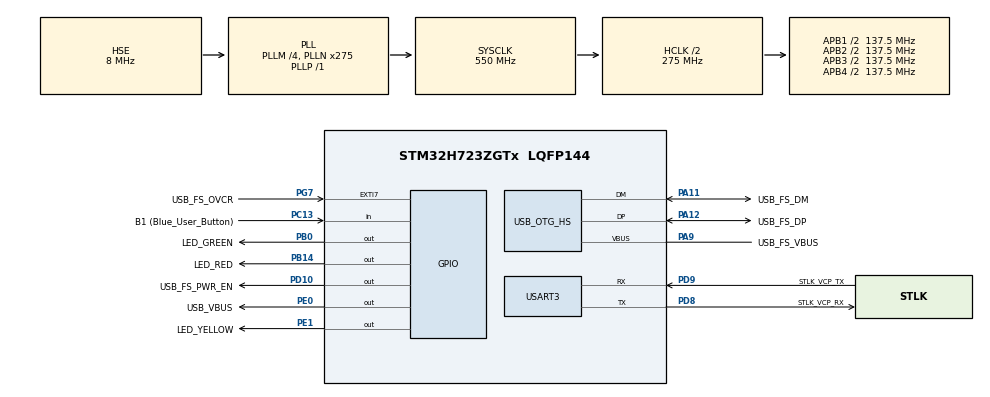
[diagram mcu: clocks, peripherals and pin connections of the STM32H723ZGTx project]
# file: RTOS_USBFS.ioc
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Dma.Request0=USART3_TX
Dma.Request1=USART3_RX
Dma.USART3_RX.1.Direction=DMA_PERIPH_TO_MEMORY
Dma.USART3_RX.1.EventEnable=DISABLE
Dma.USART3_RX.1.FIFOMode=DMA_FIFOMODE_DISABLE
Dma.USART3_RX.1.Instance=DMA1_Stream1
Dma.USART3_RX.1.MemDataAlignment=DMA_MDATAALIGN_BYTE
Dma.USART3_RX.1.MemInc=DMA_MINC_ENABLE
Dma.USART3_RX.1.Mode=DMA_CIRCULAR
Dma.USART3_RX.1.PeriphDataAlignment=DMA_PDATAALIGN_BYTE
Dma.USART3_RX.1.PeriphInc=DMA_PINC_DISABLE
Dma.USART3_RX.1.Polarity=HAL_DMAMUX_REQ_GEN_RISING
Dma.USART3_RX.1.Priority=DMA_PRIORITY_LOW
Dma.USART3_RX.1.RequestNumber=1
Dma.USART3_RX.1.SignalID=NONE
Dma.USART3_RX.1.SyncEnable=DISABLE
Dma.USART3_RX.1.SyncPolarity=HAL_DMAMUX_SYNC_NO_EVENT
Dma.USART3_RX.1.SyncRequestNumber=1
Dma.USART3_RX.1.SyncSignalID=NONE
Dma.USART3_TX.0.Direction=DMA_MEMORY_TO_PERIPH
Dma.USART3_TX.0.EventEnable=DISABLE
Dma.USART3_TX.0.FIFOMode=DMA_FIFOMODE_DISABLE
Dma.USART3_TX.0.Instance=DMA1_Stream0
Dma.USART3_TX.0.MemDataAlignment=DMA_MDATAALIGN_BYTE
Dma.USART3_TX.0.MemInc=DMA_MINC_ENABLE
Dma.USART3_TX.0.Mode=DMA_NORMAL
Dma.USART3_TX.0.PeriphDataAlignment=DMA_PDATAALIGN_BYTE
Dma.USART3_TX.0.PeriphInc=DMA_PINC_DISABLE
Dma.USART3_TX.0.Polarity=HAL_DMAMUX_REQ_GEN_RISING
Dma.USART3_TX.0.Priority=DMA_PRIORITY_LOW
Dma.USART3_TX.0.RequestNumber=1
Dma.USART3_TX.0.SignalID=NONE
Dma.USART3_TX.0.SyncEnable=DISABLE
Dma.USART3_TX.0.SyncPolarity=HAL_DMAMUX_SYNC_NO_EVENT
Dma.USART3_TX.0.SyncRequestNumber=1
Dma.USART3_TX.0.SyncSignalID=NONE
FATFS._FS_EXFAT=1
FATFS._FS_REENTRANT=1
FATFS._FS_RPATH=2
FATFS._MAX_SS=4096
FATFS._USE_LFN=3
FATFS._USE_MUTEX=1
FREERTOS.BinarySemaphores01=UART_TX_Semaphore,Dynamic,NULL
FREERTOS.INCLUDE_vTaskCleanUpResources=1
FREERTOS.INCLUDE_vTaskDelayUntil=1
FREERTOS.INCLUDE_xTimerPendFunctionCall=1
FREERTOS.Tasks01=defaultTask,0,128,StartDefaultTask,Default,NULL,Dynamic,NULL,NULL;USBFileSystemTa,0,128,USBFileSystemTask_Start,Default,NULL,Dynamic,NULL,NULL;ConsoleTask,0,128,ConsoleTask_Start,Default,NULL,Dynamic,NULL,NULL
FREERTOS.Timers01=Timer1,Timer1_Callback,osTimerPeriodic,Default,NULL,Dynamic,NULL
FREERTOS.configUSE_NEWLIB_REENTRANT=0
FREERTOS.configUSE_TIMERS=1
Mcu.Family=STM32H7
Mcu.Name=STM32H723ZGTx
Mcu.Package=LQFP144
NVIC.DMA1_Stream0_IRQn=true\:5\:0\:false\:false\:true\:false\:false\:true\:true
NVIC.DMA1_Stream1_IRQn=true\:5\:0\:false\:false\:true\:false\:false\:true\:true
NVIC.OTG_HS_IRQn=true\:5\:0\:false\:false\:true\:false\:false\:true\:true
NVIC.PriorityGroup=NVIC_PRIORITYGROUP_4
NVIC.TIM1_UP_IRQn=true\:15\:0\:false\:false\:true\:false\:false\:true\:true
NVIC.TimeBase=TIM1_UP_IRQn
NVIC.TimeBaseIP=TIM1
NVIC.USART3_IRQn=true\:5\:0\:false\:false\:true\:false\:true\:true\:true
PA1.GPIO_Label=RMII_REF_CLK
PA1.Signal=ETH_REF_CLK
PA10.GPIO_Label=USB_FS_ID
PA10.Signal=USB_OTG_HS_ID
PA11.GPIO_Label=USB_FS_DM
PA11.Mode=Host_FS
PA11.Signal=USB_OTG_HS_DM
PA12.GPIO_Label=USB_FS_DP
PA12.Mode=Host_FS
PA12.Signal=USB_OTG_HS_DP
PA13(JTMS/SWDIO).GPIO_Label=SWDIO
PA13(JTMS/SWDIO).Mode=Trace_Asynchronous_SW
PA13(JTMS/SWDIO).Signal=DEBUG_JTMS-SWDIO
PA14(JTCK/SWCLK).GPIO_Label=SWCLK
PA14(JTCK/SWCLK).Mode=Trace_Asynchronous_SW
PA14(JTCK/SWCLK).Signal=DEBUG_JTCK-SWCLK
PA2.GPIO_Label=RMII_MDIO
PA2.Signal=ETH_MDIO
PA7.GPIO_Label=RMII_CRS_DV
PA7.Signal=ETH_CRS_DV
PA9.GPIO_Label=USB_FS_VBUS
PA9.Mode=Activate_VBUS_FS
PA9.Signal=USB_OTG_HS_VBUS
PB0.GPIO_Label=LED_GREEN
PB0.Signal=GPIO_Output
PB13.GPIO_Label=RMII_TXD1
PB13.Signal=ETH_TXD1
PB14.GPIO_Label=LED_RED
PB14.Signal=GPIO_Output
PB3(JTDO/TRACESWO).GPIO_Label=SWO
PB3(JTDO/TRACESWO).Mode=Trace_Asynchronous_SW
PB3(JTDO/TRACESWO).Signal=DEBUG_JTDO-SWO
PC1.GPIO_Label=RMII_MDC
PC1.Signal=ETH_MDC
PC13.GPIO_Label=B1 (Blue_User_Button)
PC13.Signal=GPIO_Input
PC14-OSC32_IN.Mode=LSE-External-Oscillator
PC14-OSC32_IN.Signal=RCC_OSC32_IN
PC15-OSC32_OUT.Mode=LSE-External-Oscillator
PC15-OSC32_OUT.Signal=RCC_OSC32_OUT
PC4.GPIO_Label=RMII_RXD0
PC4.Signal=ETH_RXD0
PC5.GPIO_Label=RMII_RXD1
PC5.Signal=ETH_RXD1
PD10.GPIO_Label=USB_FS_PWR_EN
PD10.Signal=GPIO_Output
PD8.GPIO_Label=STLK_VCP_RX
PD8.Mode=Asynchronous
PD8.Signal=USART3_TX
PD9.GPIO_Label=STLK_VCP_TX
PD9.Mode=Asynchronous
PD9.Signal=USART3_RX
PE0.GPIO_Label=USB_VBUS
PE0.GPIO_ModeDefaultOutputPP=GPIO_MODE_OUTPUT_PP
PE0.PinState=GPIO_PIN_SET
PE0.Signal=GPIO_Output
PE1.GPIO_Label=LED_YELLOW
PE1.PinState=GPIO_PIN_SET
PE1.Signal=GPIO_Output
PG11.GPIO_Label=RMII_TX_EN
PG11.Signal=ETH_TX_EN
PG13.GPIO_Label=RMII_TXD0
PG13.Signal=ETH_TXD0
PG7.GPIO_Label=USB_FS_OVCR
PG7.Signal=GPXTI7
PH0-OSC_IN.GPIO_Label=MCO
PH0-OSC_IN.Mode=HSE-External-Oscillator
PH0-OSC_IN.Signal=RCC_OSC_IN
PH1-OSC_OUT.Mode=HSE-External-Oscillator
PH1-OSC_OUT.Signal=RCC_OSC_OUT
ProjectManager.HeapSize=0x200
ProjectManager.StackSize=0x400
ProjectManager.TargetToolchain=STM32CubeIDE
RCC.ADCFreq_Value=76000000
RCC.APB1Freq_Value=137500000
RCC.APB2Freq_Value=137500000
RCC.APB3Freq_Value=137500000
RCC.APB4Freq_Value=137500000
RCC.CortexFreq_Value=550000000
RCC.D1PPRE=RCC_APB3_DIV2
RCC.D2PPRE1=RCC_APB1_DIV2
RCC.D2PPRE2=RCC_APB2_DIV2
RCC.D3PPRE=RCC_APB4_DIV2
RCC.DIVM1=4
RCC.DIVM2=1
RCC.DIVN1=275
RCC.DIVN2=19
RCC.DIVP1=1
RCC.DIVQ1=4
RCC.HCLKFreq_Value=275000000
RCC.HPRE=RCC_HCLK_DIV2
RCC.HSE_VALUE=8000000
RCC.PLLFRACN=0
RCC.PLLSourceVirtual=RCC_PLLSOURCE_HSE
RCC.SYSCLKFreq_VALUE=550000000
RCC.SYSCLKSource=RCC_SYSCLKSOURCE_PLLCLK
RCC.USBCLockSelection=RCC_USBCLKSOURCE_HSI48
RCC.USBFreq_Value=48000000
USART3.VirtualMode-Asynchronous=VM_ASYNC
USB_HOST.BSP.number=1
USB_HOST.USBH_HandleTypeDef=hUsbHostHS
USB_HOST.VirtualModeHS=Msc
USB_HOST0.BSP.STBoard=false
USB_HOST0.BSP.api=Unknown
USB_HOST0.BSP.instance=PE0
USB_HOST0.BSP.ip=GPIO
USB_HOST0.BSP.mode=Output
USB_HOST0.BSP.name=Drive_VBUS_HS
USB_HOST0.BSP.solution=PE0
USB_OTG_HS.VirtualMode-Host_FS=Host_FS
VP_FATFS_VS_USB.Mode=USB
VP_FREERTOS_VS_CMSIS_V1.Mode=CMSIS_V1
VP_SYS_VS_tim1.Mode=TIM1
VP_USB_HOST_VS_USB_HOST_MSC_HS.Mode=MSC_HS
board=NUCLEO-H723ZG

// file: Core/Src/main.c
/* USER CODE BEGIN Header */
/**
  ******************************************************************************
  * @file           : main.c
  * @brief          : Main program body
  ******************************************************************************
  * @attention
  *
  * Copyright (c) 2022 STMicroelectronics.
  * All rights reserved.
  *
  * This software is licensed under terms that can be found in the LICENSE file
  * in the root directory of this software component.
  * If no LICENSE file comes with this software, it is provided AS-IS.
  *
  ******************************************************************************
  */
/* USER CODE END Header */
#include "main.h"
#include "cmsis_os.h"
#include "fatfs.h"
#include "usb_host.h"

/* USER CODE BEGIN Includes */
#include "file_operations.h"
/* USER CODE END Includes */

/* USER CODE BEGIN PD */
#define UART_TX_BUFFER_LENGTH 66
#define UART_RX_BUFFER_LENGTH 66

char buff[256];

extern ApplicationTypeDef Appli_state;

//const uint32_t __attribute__((__section__(".crc_checksum"))) CRC_val = 0x888A5BDE;

/* USER CODE END PD */

UART_HandleTypeDef huart3;
DMA_HandleTypeDef hdma_usart3_tx;
DMA_HandleTypeDef hdma_usart3_rx;

osThreadId defaultTaskHandle;
osThreadId USBFileSystemTaHandle;
osThreadId ConsoleTaskHandle;
osTimerId Timer1Handle;
osSemaphoreId UART_TX_SemaphoreHandle;

void SystemClock_Config(void);
static void MX_GPIO_Init(void);
static void MX_USART3_UART_Init(void);
static void MX_DMA_Init(void);
void StartDefaultTask(void const * argument);
void USBFileSystemTask_Start(void const * argument);
void ConsoleTask_Start(void const * argument);
void Timer1_Callback(void const * argument);

/* USER CODE BEGIN 0 */

uint8_t UART_TX_BUFFER[UART_TX_BUFFER_LENGTH];
uint8_t UART_RX_BUFFER[UART_RX_BUFFER_LENGTH];

int _write(int file, uint8_t *data, int len)
{

   /* Lock Semaphore to ensure print buffer is used just by one thread. */
   osSemaphoreWait(UART_TX_SemaphoreHandle, osWaitForever);

   memcpy(UART_TX_BUFFER, data, len);

   HAL_StatusTypeDef status =
      HAL_UART_Transmit_DMA(&huart3, (uint8_t*)UART_TX_BUFFER, len);

   // return # of bytes written - as best we can tell
   return (status == HAL_OK ? len : 0);
}

/* USER CODE END 0 */

int main(void)
{

  /* MCU Configuration--------------------------------------------------------*/

  /* Reset of all peripherals, Initializes the Flash interface and the Systick. */
  HAL_Init();

  /* Configure the system clock */
  SystemClock_Config();

  /* Initialize all configured peripherals */
  MX_GPIO_Init();
  MX_FATFS_Init();
  MX_DMA_Init();
  MX_USART3_UART_Init();

  /* Create the semaphores(s) */
  /* definition and creation of UART_TX_Semaphore */
  osSemaphoreDef(UART_TX_Semaphore);
  UART_TX_SemaphoreHandle = osSemaphoreCreate(osSemaphore(UART_TX_Semaphore), 1);

  /* Create the timer(s) */
  /* definition and creation of Timer1 */
  osTimerDef(Timer1, Timer1_Callback);
  Timer1Handle = osTimerCreate(osTimer(Timer1), osTimerPeriodic, NULL);

  /* Create the thread(s) */
  /* definition and creation of defaultTask */
  osThreadDef(defaultTask, StartDefaultTask, osPriorityNormal, 0, 128);
  defaultTaskHandle = osThreadCreate(osThread(defaultTask), NULL);

  /* definition and creation of USBFileSystemTa */
  osThreadDef(USBFileSystemTa, USBFileSystemTask_Start, osPriorityNormal, 0, 128);
  USBFileSystemTaHandle = osThreadCreate(osThread(USBFileSystemTa), NULL);

  /* definition and creation of ConsoleTask */
  osThreadDef(ConsoleTask, ConsoleTask_Start, osPriorityNormal, 0, 1024);
  ConsoleTaskHandle = osThreadCreate(osThread(ConsoleTask), NULL);

  /* Start scheduler */
  osKernelStart();

  /* We should never get here as control is now taken by the scheduler */
  /* Infinite loop */
  while (1)
  {

  }
}

void SystemClock_Config(void)
{
  RCC_OscInitTypeDef RCC_OscInitStruct = {0};
  RCC_ClkInitTypeDef RCC_ClkInitStruct = {0};

  /** Supply configuration update enable
  */
  HAL_PWREx_ConfigSupply(PWR_LDO_SUPPLY);

  /** Configure the main internal regulator output voltage
  */
  __HAL_PWR_VOLTAGESCALING_CONFIG(PWR_REGULATOR_VOLTAGE_SCALE0);

  while(!__HAL_PWR_GET_FLAG(PWR_FLAG_VOSRDY)) {}

  /** Initializes the RCC Oscillators according to the specified parameters
  * in the RCC_OscInitTypeDef structure.
  */
  RCC_OscInitStruct.OscillatorType = RCC_OSCILLATORTYPE_HSI48|RCC_OSCILLATORTYPE_HSE;
  RCC_OscInitStruct.HSEState = RCC_HSE_ON;
  RCC_OscInitStruct.HSI48State = RCC_HSI48_ON;
  RCC_OscInitStruct.PLL.PLLState = RCC_PLL_ON;
  RCC_OscInitStruct.PLL.PLLSource = RCC_PLLSOURCE_HSE;
  RCC_OscInitStruct.PLL.PLLM = 4;
  RCC_OscInitStruct.PLL.PLLN = 275;
  RCC_OscInitStruct.PLL.PLLP = 1;
  RCC_OscInitStruct.PLL.PLLQ = 4;
  RCC_OscInitStruct.PLL.PLLR = 2;
  RCC_OscInitStruct.PLL.PLLRGE = RCC_PLL1VCIRANGE_1;
  RCC_OscInitStruct.PLL.PLLVCOSEL = RCC_PLL1VCOWIDE;
  RCC_OscInitStruct.PLL.PLLFRACN = 0;
  if (HAL_RCC_OscConfig(&RCC_OscInitStruct) != HAL_OK)
  {
    Error_Handler();
  }

  /** Initializes the CPU, AHB and APB buses clocks
  */
  RCC_ClkInitStruct.ClockType = RCC_CLOCKTYPE_HCLK|RCC_CLOCKTYPE_SYSCLK
                              |RCC_CLOCKTYPE_PCLK1|RCC_CLOCKTYPE_PCLK2
                              |RCC_CLOCKTYPE_D3PCLK1|RCC_CLOCKTYPE_D1PCLK1;
  RCC_ClkInitStruct.SYSCLKSource = RCC_SYSCLKSOURCE_PLLCLK;
  RCC_ClkInitStruct.SYSCLKDivider = RCC_SYSCLK_DIV1;
  RCC_ClkInitStruct.AHBCLKDivider = RCC_HCLK_DIV2;
  RCC_ClkInitStruct.APB3CLKDivider = RCC_APB3_DIV2;
  RCC_ClkInitStruct.APB1CLKDivider = RCC_APB1_DIV2;
  RCC_ClkInitStruct.APB2CLKDivider = RCC_APB2_DIV2;
  RCC_ClkInitStruct.APB4CLKDivider = RCC_APB4_DIV2;

  if (HAL_RCC_ClockConfig(&RCC_ClkInitStruct, FLASH_LATENCY_3) != HAL_OK)
  {
    Error_Handler();
  }
}

static void MX_USART3_UART_Init(void)
{

  huart3.Instance = USART3;
  huart3.Init.BaudRate = 115200;
  huart3.Init.WordLength = UART_WORDLENGTH_8B;
  huart3.Init.StopBits = UART_STOPBITS_1;
  huart3.Init.Parity = UART_PARITY_NONE;
  huart3.Init.Mode = UART_MODE_TX_RX;
  huart3.Init.HwFlowCtl = UART_HWCONTROL_NONE;
  huart3.Init.OverSampling = UART_OVERSAMPLING_16;
  huart3.Init.OneBitSampling = UART_ONE_BIT_SAMPLE_DISABLE;
  huart3.Init.ClockPrescaler = UART_PRESCALER_DIV1;
  huart3.AdvancedInit.AdvFeatureInit = UART_ADVFEATURE_NO_INIT;
  if (HAL_UART_Init(&huart3) != HAL_OK)
  {
    Error_Handler();
  }
  if (HAL_UARTEx_SetTxFifoThreshold(&huart3, UART_TXFIFO_THRESHOLD_1_8) != HAL_OK)
  {
    Error_Handler();
  }
  if (HAL_UARTEx_SetRxFifoThreshold(&huart3, UART_RXFIFO_THRESHOLD_1_8) != HAL_OK)
  {
    Error_Handler();
  }
  if (HAL_UARTEx_DisableFifoMode(&huart3) != HAL_OK)
  {
    Error_Handler();
  }

}

static void MX_DMA_Init(void)
{

  /* DMA controller clock enable */
  __HAL_RCC_DMA1_CLK_ENABLE();

  /* DMA interrupt init */
  /* DMA1_Stream0_IRQn interrupt configuration */
  HAL_NVIC_SetPriority(DMA1_Stream0_IRQn, 5, 0);
  HAL_NVIC_EnableIRQ(DMA1_Stream0_IRQn);
  /* DMA1_Stream1_IRQn interrupt configuration */
  HAL_NVIC_SetPriority(DMA1_Stream1_IRQn, 5, 0);
  HAL_NVIC_EnableIRQ(DMA1_Stream1_IRQn);

}

static void MX_GPIO_Init(void)
{
  GPIO_InitTypeDef GPIO_InitStruct = {0};

  /* GPIO Ports Clock Enable */
  __HAL_RCC_GPIOC_CLK_ENABLE();
  __HAL_RCC_GPIOH_CLK_ENABLE();
  __HAL_RCC_GPIOA_CLK_ENABLE();
  __HAL_RCC_GPIOB_CLK_ENABLE();
  __HAL_RCC_GPIOD_CLK_ENABLE();
  __HAL_RCC_GPIOG_CLK_ENABLE();
  __HAL_RCC_GPIOE_CLK_ENABLE();

  /*Configure GPIO pin Output Level */
  HAL_GPIO_WritePin(GPIOB, LED_GREEN_Pin|LED_RED_Pin, GPIO_PIN_RESET);

  /*Configure GPIO pin Output Level */
  HAL_GPIO_WritePin(USB_FS_PWR_EN_GPIO_Port, USB_FS_PWR_EN_Pin, GPIO_PIN_RESET);

  /*Configure GPIO pin Output Level */
  HAL_GPIO_WritePin(GPIOE, USB_VBUS_Pin|LED_YELLOW_Pin, GPIO_PIN_SET);

  /*Configure GPIO pin : B1_Pin */
  GPIO_InitStruct.Pin = B1_Pin;
  GPIO_InitStruct.Mode = GPIO_MODE_INPUT;
  GPIO_InitStruct.Pull = GPIO_NOPULL;
  HAL_GPIO_Init(B1_GPIO_Port, &GPIO_InitStruct);

  /*Configure GPIO pins : RMII_MDC_Pin RMII_RXD0_Pin RMII_RXD1_Pin */
  GPIO_InitStruct.Pin = RMII_MDC_Pin|RMII_RXD0_Pin|RMII_RXD1_Pin;
  GPIO_InitStruct.Mode = GPIO_MODE_AF_PP;
  GPIO_InitStruct.Pull = GPIO_NOPULL;
  GPIO_InitStruct.Speed = GPIO_SPEED_FREQ_LOW;
  GPIO_InitStruct.Alternate = GPIO_AF11_ETH;
  HAL_GPIO_Init(GPIOC, &GPIO_InitStruct);

  /*Configure GPIO pins : RMII_REF_CLK_Pin RMII_MDIO_Pin RMII_CRS_DV_Pin */
  GPIO_InitStruct.Pin = RMII_REF_CLK_Pin|RMII_MDIO_Pin|RMII_CRS_DV_Pin;
  GPIO_InitStruct.Mode = GPIO_MODE_AF_PP;
  GPIO_InitStruct.Pull = GPIO_NOPULL;
  GPIO_InitStruct.Speed = GPIO_SPEED_FREQ_LOW;
  GPIO_InitStruct.Alternate = GPIO_AF11_ETH;
  HAL_GPIO_Init(GPIOA, &GPIO_InitStruct);

  /*Configure GPIO pins : LED_GREEN_Pin LED_RED_Pin */
  GPIO_InitStruct.Pin = LED_GREEN_Pin|LED_RED_Pin;
  GPIO_InitStruct.Mode = GPIO_MODE_OUTPUT_PP;
  GPIO_InitStruct.Pull = GPIO_NOPULL;
  GPIO_InitStruct.Speed = GPIO_SPEED_FREQ_LOW;
  HAL_GPIO_Init(GPIOB, &GPIO_InitStruct);

  /*Configure GPIO pin : RMII_TXD1_Pin */
  GPIO_InitStruct.Pin = RMII_TXD1_Pin;
  GPIO_InitStruct.Mode = GPIO_MODE_AF_PP;
  GPIO_InitStruct.Pull = GPIO_NOPULL;
  GPIO_InitStruct.Speed = GPIO_SPEED_FREQ_LOW;
  GPIO_InitStruct.Alternate = GPIO_AF11_ETH;
  HAL_GPIO_Init(RMII_TXD1_GPIO_Port, &GPIO_InitStruct);

  /*Configure GPIO pin : USB_FS_PWR_EN_Pin */
  GPIO_InitStruct.Pin = USB_FS_PWR_EN_Pin;
  GPIO_InitStruct.Mode = GPIO_MODE_OUTPUT_PP;
  GPIO_InitStruct.Pull = GPIO_NOPULL;
  GPIO_InitStruct.Speed = GPIO_SPEED_FREQ_LOW;
  HAL_GPIO_Init(USB_FS_PWR_EN_GPIO_Port, &GPIO_InitStruct);

  /*Configure GPIO pin : USB_FS_OVCR_Pin */
  GPIO_InitStruct.Pin = USB_FS_OVCR_Pin;
  GPIO_InitStruct.Mode = GPIO_MODE_IT_RISING;
  GPIO_InitStruct.Pull = GPIO_NOPULL;
  HAL_GPIO_Init(USB_FS_OVCR_GPIO_Port, &GPIO_InitStruct);

  /*Configure GPIO pins : RMII_TX_EN_Pin RMII_TXD0_Pin */
  GPIO_InitStruct.Pin = RMII_TX_EN_Pin|RMII_TXD0_Pin;
  GPIO_InitStruct.Mode = GPIO_MODE_AF_PP;
  GPIO_InitStruct.Pull = GPIO_NOPULL;
  GPIO_InitStruct.Speed = GPIO_SPEED_FREQ_LOW;
  GPIO_InitStruct.Alternate = GPIO_AF11_ETH;
  HAL_GPIO_Init(GPIOG, &GPIO_InitStruct);

  /*Configure GPIO pins : USB_VBUS_Pin LED_YELLOW_Pin */
  GPIO_InitStruct.Pin = USB_VBUS_Pin|LED_YELLOW_Pin;
  GPIO_InitStruct.Mode = GPIO_MODE_OUTPUT_PP;
  GPIO_InitStruct.Pull = GPIO_NOPULL;
  GPIO_InitStruct.Speed = GPIO_SPEED_FREQ_LOW;
  HAL_GPIO_Init(GPIOE, &GPIO_InitStruct);

}

/* USER CODE BEGIN 4 */
uint8_t txDoneFlag = 0;

static size_t old_RX_buffer_position = 0;
static size_t current_RX_buffer_position = 0;

char received_command[UART_RX_BUFFER_LENGTH];

void HAL_UART_TxCpltCallback(UART_HandleTypeDef *huart)
{

	/* Release Semaphore to execute next print operation */
	osSemaphoreRelease(UART_TX_SemaphoreHandle);
	HAL_GPIO_TogglePin(GPIOB,LED_GREEN_Pin);
}

void HAL_UARTEx_RxEventCallback(UART_HandleTypeDef *huart, uint16_t Size){

	HAL_GPIO_TogglePin(GPIOB,LED_GREEN_Pin);

	current_RX_buffer_position = Size;

	if(current_RX_buffer_position > old_RX_buffer_position){
	  memcpy(received_command, UART_RX_BUFFER+old_RX_buffer_position, current_RX_buffer_position - old_RX_buffer_position -1);

	  received_command[current_RX_buffer_position - old_RX_buffer_position -1] = '\0';
	}else{
	  memcpy(received_command, UART_RX_BUFFER+old_RX_buffer_position, UART_RX_BUFFER_LENGTH-old_RX_buffer_position);

	  memcpy(received_command+UART_RX_BUFFER_LENGTH-old_RX_buffer_position, UART_RX_BUFFER, Size-1);

	  received_command[UART_RX_BUFFER_LENGTH-old_RX_buffer_position + Size - 1] = '\0';
	}

      /* Calculate current position in buffer and check for new data available */
                    /*
               * Processing is done in "linear" mode.
               *
               * Application processing is fast with single data block,
               * length is simply calculated by subtracting pointers
               *
               * [   0   ]
               * [   1   ] <- old_pos |------------------------------------|
               * [   2   ]            |                                    |
               * [   3   ]            | Single block (len = pos - old_pos) |
               * [   4   ]            |                                    |
               * [   5   ]            |------------------------------------|
               * [   6   ] <- pos
               * [   7   ]
               * [ N - 1 ]
               */

              /*
               * Processing is done in "overflow" mode..
               *
               * Application must process data twice,
               * since there are 2 linear memory blocks to handle
               *
               * [   0   ]            |---------------------------------|
               * [   1   ]            | Second block (len = pos)        |
               * [   2   ]            |---------------------------------|
               * [   3   ] <- pos
               * [   4   ] <- old_pos |---------------------------------|
               * [   5   ]            |                                 |
               * [   6   ]            | First block (len = N - old_pos) |
               * [   7   ]            |                                 |
               * [ N - 1 ]            |---------------------------------|
               */

	old_RX_buffer_position = current_RX_buffer_position;

	HAL_UARTEx_ReceiveToIdle_DMA(&huart3, UART_RX_BUFFER, UART_RX_BUFFER_LENGTH);
	__HAL_DMA_DISABLE_IT(&hdma_usart3_rx, DMA_IT_HT);
	__HAL_DMA_DISABLE_IT(&hdma_usart3_rx, DMA_IT_TC);

	BaseType_t xHigherPriorityTaskWoken;

	/* xHigherPriorityTaskWoken must be initialised to pdFALSE.  If calling
	vTaskNotifyGiveFromISR() unblocks the handling task, and the priority of
	the handling task is higher than the priority of the currently running task,
	then xHigherPriorityTaskWoken will automatically get set to pdTRUE. */
	xHigherPriorityTaskWoken = pdFALSE;

	/* Unblock the handling task so the task can perform any processing necessitated
	by the interrupt.  xHandlingTask is the task's handle, which was obtained
	when the task was created. */
	vTaskNotifyGiveFromISR(ConsoleTaskHandle, &xHigherPriorityTaskWoken );

	/* Force a context switch if xHigherPriorityTaskWoken is now set to pdTRUE.
	The macro used to do this is dependent on the port and may be called
	portEND_SWITCHING_ISR. */
	portYIELD_FROM_ISR( xHigherPriorityTaskWoken );

}

/* USER CODE END 4 */

void StartDefaultTask(void const * argument)
{
  /* init code for USB_HOST */
  MX_USB_HOST_Init();
  /* USER CODE BEGIN 5 */

  /* USRT RX INITIATE */
  HAL_UARTEx_ReceiveToIdle_DMA(&huart3, UART_RX_BUFFER, UART_RX_BUFFER_LENGTH);
  __HAL_DMA_DISABLE_IT(&hdma_usart3_rx, DMA_IT_HT);
  __HAL_DMA_DISABLE_IT(&hdma_usart3_rx, DMA_IT_TC);

  int count = 0;
  /* Infinite loop */
  for(;;)
  {
    //printf("Hello World! %d\r\n", count++);
    osDelay(2000);
  }
  /* USER CODE END 5 */
}

void USBFileSystemTask_Start(void const * argument)
{
  for(;;)
  {
    osDelay(1);
  }
}

void ConsoleTask_Start(void const * argument)
{
  /* USER CODE BEGIN ConsoleTask_Start */
	// ToDo Add buffer full mechanism to UART TX.
	printf("======================\r\n");
	printf(" Terminal is ready...\r\n");
	printf(" Waiting commands... \r\n");
	printf("======================\r\n");

	uint8_t str_trim_start = 0;
	uint8_t str_trim_end = 0;

	FRESULT fr;
	UINT SZ_STR = 100;
	TCHAR str[SZ_STR];

	char* trimmed_command = NULL;

  /* Infinite loop */
  for(;;)
  {

	ulTaskNotifyTake(pdTRUE,          /* Clear the notification value before exiting. */
	                 portMAX_DELAY ); /* Block indefinitely. */

	for(str_trim_start = 0; str_trim_start <= strlen(received_command); str_trim_start ++)
	{
		if(received_command[str_trim_start] != ' ')
		{
			trimmed_command = received_command + str_trim_start;
			break;
		}
	}

	for(str_trim_end = strlen(trimmed_command)-1; str_trim_end >= 0; str_trim_end--)
	{
		if(trimmed_command[str_trim_end] != ' ')
		{
			trimmed_command[str_trim_end+1] = '\0';
			break;
		}
	}

	printf("CMD$: %s \r\n", trimmed_command);

	if(strlen(trimmed_command) > 0)
	{

		if(!strncmp(trimmed_command , "mount" , 5))
		{

			if(Appli_state != APPLICATION_READY){
				printf("USB is not connected!\r\n");
				continue;
			}

			printf("Mounting the USB...\r\n");

			if(f_mount(&USBHFatFS, (TCHAR const*)USBHPath, 0) != FR_OK)
			{
				printf("Mounting error!\r\n");
				Error_Handler();
			}

			printf("Mounting the USB is done.\r\n");
		}
		else if(!strncmp(trimmed_command , "unmount" , 7))
		{
			printf("Unmounting the USB...\r\n");

			if(f_mount(NULL, (TCHAR const*)USBHPath, 0) != FR_OK)
			{
				printf("Unmounting error!\r\n");
				Error_Handler();
			}

			printf("Unmounting the USB is done.\r\n");

		}
		else if(!strncmp(trimmed_command , "pwd" , 3))
		{
			fr = f_getcwd(str, SZ_STR);  /* Get current directory path */
			printf("%s\r\n", str);
		}
		else if(!strncmp(trimmed_command , "ls" , 2)){
			char *buf = malloc(30*sizeof(char));
			strcpy(buf, "/");
			fr = scan_all_files(buf);
			free(buf);
		}
		else if(!strncmp(trimmed_command , "touch" , 5))
		{
			create_file(trimmed_command + 5);
		}
		else if(!strncmp(trimmed_command , "rm" , 2))
		{
			remove_file(trimmed_command+2);
		}
		else if(!strncmp(trimmed_command , "mkdir" , 5))
		{
			create_dir(trimmed_command+5);
		}else if(!strncmp(trimmed_command , "echo" , 4))
		{
			echo(trimmed_command+4);
		}else if(!strncmp(trimmed_command , "cat" , 3))
		{
			read_file(trimmed_command+3);
		}

	}

	//if received_command

    osDelay(1);
  }
  /* USER CODE END ConsoleTask_Start */
}

/* Timer1_Callback function */
void Timer1_Callback(void const * argument)
{
}

void HAL_TIM_PeriodElapsedCallback(TIM_HandleTypeDef *htim)
{
  if (htim->Instance == TIM1) {
    HAL_IncTick();
  }
}

void Error_Handler(void)
{
  __disable_irq();
  while (1)
  {
  }
}
